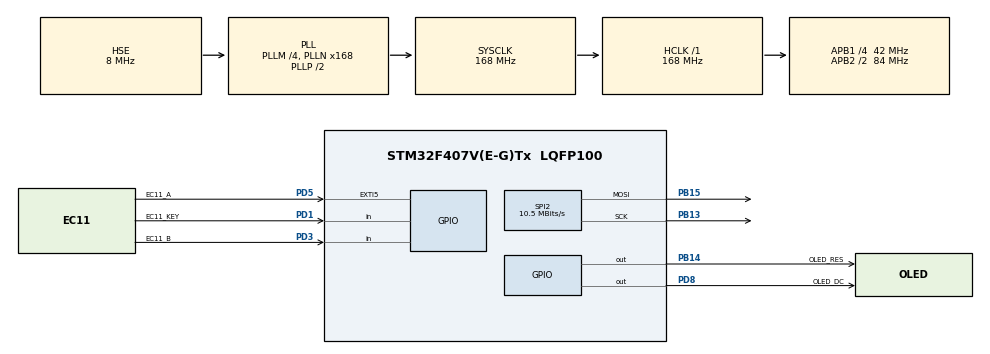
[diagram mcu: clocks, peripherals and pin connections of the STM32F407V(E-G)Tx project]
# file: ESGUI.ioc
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Dma.Request0=SPI2_TX
Dma.SPI2_TX.0.Direction=DMA_MEMORY_TO_PERIPH
Dma.SPI2_TX.0.FIFOMode=DMA_FIFOMODE_DISABLE
Dma.SPI2_TX.0.Instance=DMA1_Stream4
Dma.SPI2_TX.0.MemDataAlignment=DMA_MDATAALIGN_BYTE
Dma.SPI2_TX.0.MemInc=DMA_MINC_ENABLE
Dma.SPI2_TX.0.Mode=DMA_NORMAL
Dma.SPI2_TX.0.PeriphDataAlignment=DMA_PDATAALIGN_BYTE
Dma.SPI2_TX.0.PeriphInc=DMA_PINC_DISABLE
Dma.SPI2_TX.0.Priority=DMA_PRIORITY_LOW
Mcu.Family=STM32F4
Mcu.Name=STM32F407V(E-G)Tx
Mcu.Package=LQFP100
NVIC.DMA1_Stream4_IRQn=true\:0\:0\:false\:false\:true\:false\:true\:true
NVIC.EXTI9_5_IRQn=true\:0\:0\:false\:false\:true\:true\:true\:true
NVIC.PriorityGroup=NVIC_PRIORITYGROUP_4
NVIC.SPI2_IRQn=true\:0\:0\:false\:false\:true\:true\:true\:true
PA13.Mode=Serial_Wire
PA13.Signal=SYS_JTMS-SWDIO
PA14.Mode=Serial_Wire
PA14.Signal=SYS_JTCK-SWCLK
PB13.Mode=TX_Only_Simplex_Unidirect_Master
PB13.Signal=SPI2_SCK
PB14.GPIO_Label=OLED_RES
PB14.GPIO_Speed=GPIO_SPEED_FREQ_VERY_HIGH
PB14.PinState=GPIO_PIN_SET
PB14.Signal=GPIO_Output
PB15.Mode=TX_Only_Simplex_Unidirect_Master
PB15.Signal=SPI2_MOSI
PC14-OSC32_IN.Mode=LSE-External-Oscillator
PC14-OSC32_IN.Signal=RCC_OSC32_IN
PC15-OSC32_OUT.Mode=LSE-External-Oscillator
PC15-OSC32_OUT.Signal=RCC_OSC32_OUT
PD1.GPIO_Label=EC11_KEY
PD1.GPIO_PuPd=GPIO_PULLUP
PD1.Signal=GPIO_Input
PD3.GPIO_Label=EC11_B
PD3.GPIO_PuPd=GPIO_PULLUP
PD3.Signal=GPIO_Input
PD5.GPIO_Label=EC11_A
PD5.GPIO_ModeDefaultEXTI=GPIO_MODE_IT_RISING_FALLING
PD5.GPIO_PuPd=GPIO_PULLUP
PD5.Signal=GPXTI5
PD8.GPIO_Label=OLED_DC
PD8.GPIO_Speed=GPIO_SPEED_FREQ_VERY_HIGH
PD8.PinState=GPIO_PIN_SET
PD8.Signal=GPIO_Output
PH0-OSC_IN.Mode=HSE-External-Oscillator
PH0-OSC_IN.Signal=RCC_OSC_IN
PH1-OSC_OUT.Mode=HSE-External-Oscillator
PH1-OSC_OUT.Signal=RCC_OSC_OUT
ProjectManager.HeapSize=0x200
ProjectManager.StackSize=0x400
ProjectManager.TargetToolchain=CMake
RCC.48MHZClocksFreq_Value=84000000
RCC.AHBFreq_Value=168000000
RCC.APB1CLKDivider=RCC_HCLK_DIV4
RCC.APB1Freq_Value=42000000
RCC.APB1TimFreq_Value=84000000
RCC.APB2CLKDivider=RCC_HCLK_DIV2
RCC.APB2Freq_Value=84000000
RCC.APB2TimFreq_Value=168000000
RCC.CortexFreq_Value=168000000
RCC.HCLKFreq_Value=168000000
RCC.HSE_VALUE=8000000
RCC.HSI_VALUE=16000000
RCC.PLLM=4
RCC.PLLN=168
RCC.PLLSourceVirtual=RCC_PLLSOURCE_HSE
RCC.RCC_RTC_Clock_Source=RCC_RTCCLKSOURCE_LSE
RCC.RCC_RTC_Clock_SourceVirtual=RCC_RTCCLKSOURCE_LSE
RCC.SYSCLKFreq_VALUE=168000000
RCC.SYSCLKSource=RCC_SYSCLKSOURCE_PLLCLK
RCC.VCOOutputFreq_Value=336000000
SPI2.BaudRatePrescaler=SPI_BAUDRATEPRESCALER_4
SPI2.CalculateBaudRate=10.5 MBits/s
SPI2.Direction=SPI_DIRECTION_2LINES
SPI2.Mode=SPI_MODE_MASTER
SPI2.VirtualType=VM_MASTER
VP_RTC_VS_RTC_Activate.Mode=RTC_Enabled
board=custom

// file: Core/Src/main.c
/* USER CODE BEGIN Header */
/**
  ******************************************************************************
  * @file           : main.c
  * @brief          : Main program body
  ******************************************************************************
  * @attention
  *
  * Copyright (c) 2026 STMicroelectronics.
  * All rights reserved.
  *
  * This software is licensed under terms that can be found in the LICENSE file
  * in the root directory of this software component.
  * If no LICENSE file comes with this software, it is provided AS-IS.
  *
  ******************************************************************************
  */
/* USER CODE END Header */
#include "main.h"
#include "dma.h"
#include "rtc.h"
#include "spi.h"
#include "gpio.h"

/* USER CODE BEGIN Includes */
#include "ec11.h"
#include "oled.h"
#include "ESGUI.h"
#include "../../MY_Driver/ESGUI/Adapter/ESGUI_UseCanvas.h"
#include "../../MY_Driver/UI/eui_test_page.h"

/* USER CODE END Includes */

void SystemClock_Config(void);

/* USER CODE BEGIN 0 */

OLED_OBJ_T oled1;

void ESGUI_UseCanvasFlush(int x0,int y0,int x1,int y1,const uint8_t* buff,void* user) {
  OLED_Refresh(&oled1);
}

/* USER CODE END 0 */

int main(void)
{

  /* MCU Configuration--------------------------------------------------------*/

  /* Reset of all peripherals, Initializes the Flash interface and the Systick. */
  HAL_Init();

  /* Configure the system clock */
  SystemClock_Config();

  /* Initialize all configured peripherals */
  MX_GPIO_Init();
  MX_DMA_Init();
  MX_RTC_Init();
  MX_SPI2_Init();
  /* USER CODE BEGIN 2 */

#define oled_h 64

  OLED_Init(&oled1,
    &hspi2,
    OLED_DC_GPIO_Port,OLED_DC_Pin,
    OLED_RES_GPIO_Port,OLED_RES_Pin,
    NULL,0,
    128,oled_h);

  EC11_OBJ_T ec11;

  EC11_Init(&ec11,EC11_A_GPIO_Port,EC11_A_Pin,
            EC11_B_GPIO_Port,EC11_B_Pin,
            EC11_KEY_GPIO_Port,EC11_KEY_Pin,
            EC11_DIR_CLOCKWISE);

  ESGUI_T ui;
  Canvas c;
  CanvasStripIter c_it;

  //初始化ESGUI框架
  ESGUI_Init(&ui,&text_page,ESGUI_CanvasRefresh_CB,ESGUI_AnimTick_CB);
  //绑定绘图库为默认的Canvas绘图库
  ESGUI_BindCanvas(&ui,&c,&c_it,oled1.oled_gram,128,oled_h,oled_h);
  eui_test_page_init();

  uint32_t now_ms = 0;

  /* USER CODE END 2 */

  /* Infinite loop */
  /* USER CODE BEGIN WHILE */
  while (1)
  {
    now_ms = HAL_GetTick();

    EC11_KeyScan(&ec11);

    switch (EC11_GetState(&ec11)) {
      case EC11_UP:
        ESGUI_FeedKey(&ui,EVT_KEY_UP,now_ms);
        break;

      case EC11_DOWN:
        ESGUI_FeedKey(&ui,EVT_KEY_DOWN,now_ms);
        break;

      case EC11_STATE_NULL:
        ESGUI_FeedKey(&ui,EVT_NONE,now_ms);
        break;

      case EC11_KEY_SHORT_PRESS:
        ESGUI_FeedKey(&ui,EVT_CLICKED,now_ms);
        break;

      case EC11_KEY_LONG_PRESS:
        ESGUI_FeedKey(&ui,EVT_KEY_BACK,now_ms);
        break;

      default:
        ESGUI_FeedKey(&ui,EVT_NONE,now_ms);
        break;
    }
    ESGUI_Tick(&ui,now_ms);
    HAL_Delay(10);
    /* USER CODE END WHILE */

  }
}

void SystemClock_Config(void)
{
  RCC_OscInitTypeDef RCC_OscInitStruct = {0};
  RCC_ClkInitTypeDef RCC_ClkInitStruct = {0};

  /** Configure the main internal regulator output voltage
  */
  __HAL_RCC_PWR_CLK_ENABLE();
  __HAL_PWR_VOLTAGESCALING_CONFIG(PWR_REGULATOR_VOLTAGE_SCALE1);

  /** Initializes the RCC Oscillators according to the specified parameters
  * in the RCC_OscInitTypeDef structure.
  */
  RCC_OscInitStruct.OscillatorType = RCC_OSCILLATORTYPE_HSE|RCC_OSCILLATORTYPE_LSE;
  RCC_OscInitStruct.HSEState = RCC_HSE_ON;
  RCC_OscInitStruct.LSEState = RCC_LSE_ON;
  RCC_OscInitStruct.PLL.PLLState = RCC_PLL_ON;
  RCC_OscInitStruct.PLL.PLLSource = RCC_PLLSOURCE_HSE;
  RCC_OscInitStruct.PLL.PLLM = 4;
  RCC_OscInitStruct.PLL.PLLN = 168;
  RCC_OscInitStruct.PLL.PLLP = RCC_PLLP_DIV2;
  RCC_OscInitStruct.PLL.PLLQ = 4;
  if (HAL_RCC_OscConfig(&RCC_OscInitStruct) != HAL_OK)
  {
    Error_Handler();
  }

  /** Initializes the CPU, AHB and APB buses clocks
  */
  RCC_ClkInitStruct.ClockType = RCC_CLOCKTYPE_HCLK|RCC_CLOCKTYPE_SYSCLK
                              |RCC_CLOCKTYPE_PCLK1|RCC_CLOCKTYPE_PCLK2;
  RCC_ClkInitStruct.SYSCLKSource = RCC_SYSCLKSOURCE_PLLCLK;
  RCC_ClkInitStruct.AHBCLKDivider = RCC_SYSCLK_DIV1;
  RCC_ClkInitStruct.APB1CLKDivider = RCC_HCLK_DIV4;
  RCC_ClkInitStruct.APB2CLKDivider = RCC_HCLK_DIV2;

  if (HAL_RCC_ClockConfig(&RCC_ClkInitStruct, FLASH_LATENCY_5) != HAL_OK)
  {
    Error_Handler();
  }
}

void Error_Handler(void)
{
  __disable_irq();
  while (1)
  {
  }
}
